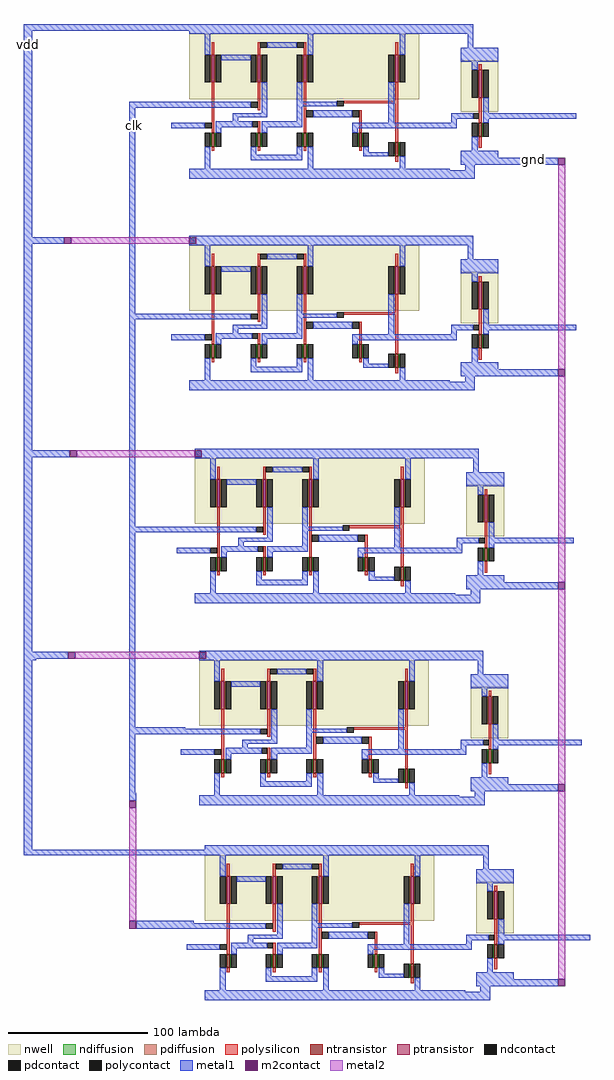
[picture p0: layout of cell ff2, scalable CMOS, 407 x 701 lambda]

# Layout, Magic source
magic
tech scmos
<< metal1 >>
rect -106 106 26 111
rect -106 -42 -100 106
rect -30 51 4 55
rect -106 -47 -77 -42
rect -106 -195 -100 -47
rect -30 -97 -26 51
rect 253 43 291 47
rect 230 10 278 15
rect -30 -101 6 -97
rect -106 -200 -73 -195
rect -106 -340 -100 -200
rect -30 -250 -26 -101
rect 253 -109 291 -105
rect 231 -142 278 -137
rect -30 -254 5 -250
rect -106 -345 -74 -340
rect -106 -346 -97 -345
rect -106 -482 -100 -346
rect -30 -394 -26 -254
rect 251 -262 289 -258
rect 234 -295 278 -290
rect -30 -395 10 -394
rect -30 -399 13 -395
rect -30 -441 -26 -399
rect 257 -407 295 -403
rect 237 -440 278 -435
rect -30 -447 -25 -441
rect -106 -486 47 -482
rect -25 -539 16 -533
rect 263 -547 301 -543
rect 245 -580 278 -575
<< m2contact >>
rect -77 -47 -72 -42
rect 278 10 283 15
rect 13 -47 18 -42
rect -73 -200 -68 -195
rect 278 -142 283 -137
rect 17 -200 22 -195
rect -74 -345 -69 -340
rect 278 -295 283 -290
rect 20 -345 25 -340
rect 278 -440 283 -435
rect -30 -452 -25 -447
rect -30 -539 -25 -533
rect 278 -580 283 -575
<< metal2 >>
rect -72 -47 13 -42
rect 278 -137 283 10
rect -68 -200 17 -195
rect 278 -290 283 -142
rect -69 -345 20 -340
rect 278 -435 283 -295
rect -30 -533 -25 -452
rect 278 -575 283 -440
use layff  layff_4
transform 1 0 41 0 1 -511
box -30 -79 223 32
use layff  layff_3
transform 1 0 37 0 1 -371
box -30 -79 223 32
use layff  layff_2
transform 1 0 34 0 1 -226
box -30 -79 223 32
use layff  layff_1
transform 1 0 30 0 1 -73
box -30 -79 223 32
use layff  layff_0
transform 1 0 30 0 1 79
box -30 -79 223 32
<< labels >>
rlabel metal1 -103 95 -102 97 3 vdd
rlabel metal1 -27 37 -26 39 1 clk
rlabel metal1 260 13 261 15 1 gnd
<< end >>

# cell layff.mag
magic
tech scmos
<< nwell >>
rect -17 -22 148 25
<< ntransistor >>
rect -1 -56 1 -46
rect 32 -56 34 -46
rect 65 -56 67 -46
rect 105 -56 107 -46
rect 131 -63 133 -53
<< ptransistor >>
rect -1 -10 1 10
rect 32 -10 34 10
rect 65 -10 67 10
rect 131 -10 133 10
<< ndiffusion >>
rect -2 -56 -1 -46
rect 1 -56 2 -46
rect 31 -56 32 -46
rect 34 -56 35 -46
rect 64 -56 65 -46
rect 67 -56 68 -46
rect 104 -56 105 -46
rect 107 -56 108 -46
rect 130 -63 131 -53
rect 133 -63 134 -53
<< pdiffusion >>
rect -2 -10 -1 10
rect 1 -10 2 10
rect 31 -10 32 10
rect 34 -10 35 10
rect 64 -10 65 10
rect 67 -10 68 10
rect 130 -10 131 10
rect 133 -10 134 10
<< ndcontact >>
rect -6 -56 -2 -46
rect 2 -56 6 -46
rect 27 -56 31 -46
rect 35 -56 39 -46
rect 60 -56 64 -46
rect 68 -56 72 -46
rect 100 -56 104 -46
rect 108 -56 112 -46
rect 126 -63 130 -53
rect 134 -63 138 -53
<< pdcontact >>
rect -6 -10 -2 10
rect 2 -10 6 10
rect 27 -10 31 10
rect 35 -10 39 10
rect 60 -10 64 10
rect 68 -10 72 10
rect 126 -10 130 10
rect 134 -10 138 10
<< polysilicon >>
rect -1 10 1 19
rect 32 10 34 19
rect 65 10 67 19
rect 131 10 133 19
rect -1 -46 1 -10
rect 32 -30 34 -10
rect 32 -46 34 -38
rect 65 -46 67 -10
rect 131 -23 133 -10
rect 94 -25 133 -23
rect 105 -46 107 -30
rect 131 -53 133 -25
rect -1 -59 1 -56
rect 32 -59 34 -56
rect 65 -59 67 -56
rect 105 -59 107 -56
rect 131 -67 133 -63
<< polycontact >>
rect 34 15 39 19
rect 60 15 65 19
rect -6 -43 -1 -39
rect 27 -28 32 -24
rect 28 -42 32 -38
rect 89 -27 94 -23
rect 67 -35 72 -30
rect 100 -35 105 -30
<< metal1 >>
rect -17 25 187 32
rect -6 10 -2 25
rect 39 15 60 19
rect 68 10 72 25
rect 134 10 138 25
rect 183 15 187 25
rect 6 6 27 10
rect -30 -28 27 -24
rect 35 -32 39 -10
rect 14 -35 39 -32
rect 60 -24 64 -10
rect 60 -27 89 -24
rect 14 -38 18 -35
rect 60 -38 64 -27
rect 72 -35 100 -30
rect -30 -43 -6 -39
rect 2 -42 28 -38
rect 35 -42 64 -38
rect 126 -39 130 -10
rect 217 -36 223 -32
rect 171 -39 175 -36
rect 2 -46 6 -42
rect 35 -46 39 -42
rect 100 -43 175 -39
rect 100 -46 104 -43
rect -6 -72 -2 -56
rect 27 -62 31 -56
rect 60 -62 64 -56
rect 27 -66 64 -62
rect 68 -72 72 -56
rect 108 -60 112 -56
rect 108 -63 126 -60
rect 134 -72 138 -63
rect -17 -73 170 -72
rect 181 -73 188 -67
rect -17 -79 188 -73
use inv  inv_0
transform 1 0 178 0 1 -14
box -7 -55 39 29
<< labels >>
rlabel metal1 87 -78 87 -78 1 gnd
rlabel metal1 67 29 67 29 5 vdd
rlabel metal1 155 -41 155 -41 1 qbar
rlabel metal1 -26 -41 -26 -41 3 d
rlabel metal1 -22 -26 -22 -26 1 clk
rlabel metal1 220 -34 220 -34 7 q
<< end >>

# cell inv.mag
magic
tech scmos
<< nwell >>
rect 0 -17 27 20
<< ntransistor >>
rect 13 -35 15 -25
<< ptransistor >>
rect 13 -7 15 13
<< ndiffusion >>
rect 12 -35 13 -25
rect 15 -35 16 -25
<< pdiffusion >>
rect 12 -7 13 13
rect 15 -7 16 13
<< ndcontact >>
rect 8 -35 12 -25
rect 16 -35 20 -25
<< pdcontact >>
rect 8 -7 12 13
rect 16 -7 20 13
<< polysilicon >>
rect 13 13 15 17
rect 13 -25 15 -7
rect 13 -43 15 -35
<< polycontact >>
rect 9 -22 13 -18
<< metal1 >>
rect 0 19 27 29
rect 8 13 12 19
rect 16 -18 20 -7
rect -7 -22 9 -18
rect 16 -22 39 -18
rect 16 -25 20 -22
rect 8 -45 12 -35
rect 0 -55 27 -45
<< labels >>
rlabel metal1 13 25 13 25 5 vdd
rlabel metal1 20 -48 20 -48 1 gnd
rlabel metal1 2 -20 2 -20 1 b
rlabel metal1 29 -20 29 -20 1 Y
<< end >>
